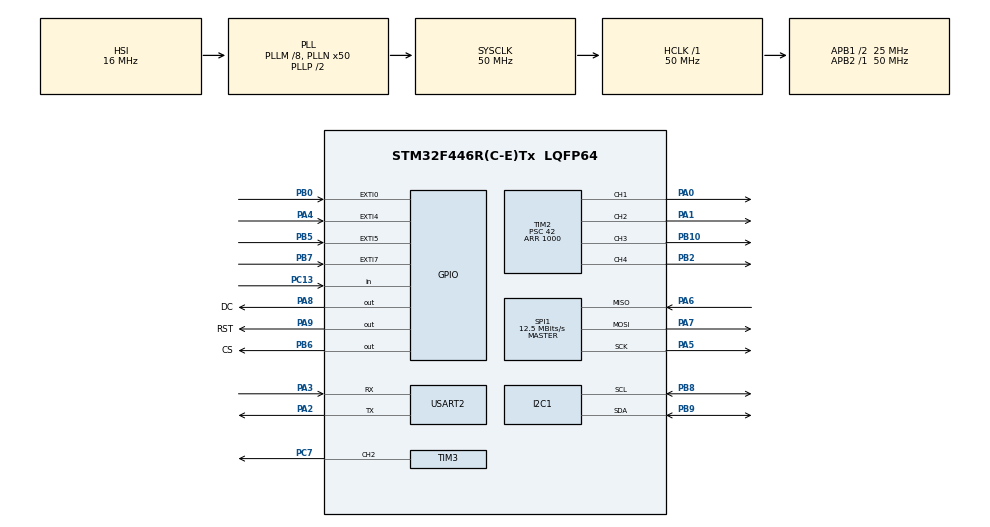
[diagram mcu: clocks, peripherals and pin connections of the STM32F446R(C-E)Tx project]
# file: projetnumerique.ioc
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Dma.Request0=USART2_RX
Dma.USART2_RX.0.Direction=DMA_PERIPH_TO_MEMORY
Dma.USART2_RX.0.FIFOMode=DMA_FIFOMODE_DISABLE
Dma.USART2_RX.0.Instance=DMA1_Stream5
Dma.USART2_RX.0.MemDataAlignment=DMA_MDATAALIGN_BYTE
Dma.USART2_RX.0.MemInc=DMA_MINC_ENABLE
Dma.USART2_RX.0.Mode=DMA_CIRCULAR
Dma.USART2_RX.0.PeriphDataAlignment=DMA_PDATAALIGN_BYTE
Dma.USART2_RX.0.PeriphInc=DMA_PINC_DISABLE
Dma.USART2_RX.0.Priority=DMA_PRIORITY_LOW
Mcu.Family=STM32F4
Mcu.Name=STM32F446R(C-E)Tx
Mcu.Package=LQFP64
NVIC.DMA1_Stream5_IRQn=true\:0\:0\:false\:false\:true\:false\:true\:true
NVIC.EXTI0_IRQn=true\:0\:0\:false\:false\:true\:true\:true\:true
NVIC.EXTI4_IRQn=true\:0\:0\:false\:false\:true\:true\:true\:true
NVIC.EXTI9_5_IRQn=true\:0\:0\:false\:false\:true\:true\:true\:true
NVIC.PriorityGroup=NVIC_PRIORITYGROUP_4
NVIC.TIM6_DAC_IRQn=true\:0\:0\:false\:false\:true\:true\:true\:true
NVIC.USART2_IRQn=true\:0\:0\:false\:false\:true\:true\:true\:true
PA0-WKUP.Signal=S_TIM2_CH1_ETR
PA1.Signal=S_TIM2_CH2
PA13.Mode=Serial_Wire
PA13.Signal=SYS_JTMS-SWDIO
PA14.Mode=Serial_Wire
PA14.Signal=SYS_JTCK-SWCLK
PA2.Mode=Asynchronous
PA2.Signal=USART2_TX
PA3.Mode=Asynchronous
PA3.Signal=USART2_RX
PA4.GPIO_ModeDefaultEXTI=GPIO_MODE_IT_RISING
PA4.Signal=GPXTI4
PA5.Mode=Full_Duplex_Master
PA5.Signal=SPI1_SCK
PA6.Mode=Full_Duplex_Master
PA6.Signal=SPI1_MISO
PA7.Mode=Full_Duplex_Master
PA7.Signal=SPI1_MOSI
PA8.GPIO_Label=DC
PA8.PinState=GPIO_PIN_SET
PA8.Signal=GPIO_Output
PA9.GPIO_Label=RST
PA9.PinState=GPIO_PIN_SET
PA9.Signal=GPIO_Output
PB0.GPIO_ModeDefaultEXTI=GPIO_MODE_IT_RISING
PB0.Signal=GPXTI0
PB10.Signal=S_TIM2_CH3
PB2.Signal=S_TIM2_CH4
PB5.Signal=GPXTI5
PB6.GPIO_Label=CS
PB6.PinState=GPIO_PIN_SET
PB6.Signal=GPIO_Output
PB7.Signal=GPXTI7
PB8.Mode=I2C
PB8.Signal=I2C1_SCL
PB9.Mode=I2C
PB9.Signal=I2C1_SDA
PC13.Signal=GPIO_Input
PC7.Signal=S_TIM3_CH2
ProjectManager.HeapSize=0x200
ProjectManager.StackSize=0x400
ProjectManager.TargetToolchain=STM32CubeIDE
RCC.AHBFreq_Value=50000000
RCC.APB1CLKDivider=RCC_HCLK_DIV2
RCC.APB1Freq_Value=25000000
RCC.APB1TimFreq_Value=50000000
RCC.APB2Freq_Value=50000000
RCC.APB2TimFreq_Value=50000000
RCC.CortexFreq_Value=50000000
RCC.HCLKFreq_Value=50000000
RCC.PLLM=8
RCC.PLLMUL=RCC_PLL_MUL4
RCC.PLLN=50
RCC.SYSCLKFreq_VALUE=50000000
RCC.SYSCLKSource=RCC_SYSCLKSOURCE_PLLCLK
RCC.USBFreq_Value=50000000
RCC.VCOOutputFreq_Value=100000000
RTC.Date=10
RTC.Format=RTC_FORMAT_BIN
RTC.Hours=16
RTC.Minutes=15
RTC.Month=RTC_MONTH_DECEMBER
RTC.Seconds=30
RTC.WeekDay=RTC_WEEKDAY_TUESDAY
RTC.Year=24
SH.S_TIM2_CH1_ETR.0=TIM2_CH1,PWM Generation1 CH1
SH.S_TIM2_CH2.0=TIM2_CH2,PWM Generation2 CH2
SH.S_TIM2_CH3.0=TIM2_CH3,PWM Generation3 CH3
SH.S_TIM2_CH4.0=TIM2_CH4,PWM Generation4 CH4
SH.S_TIM3_CH2.0=TIM3_CH2,PWM Generation2 CH2
SPI1.BaudRatePrescaler=SPI_BAUDRATEPRESCALER_4
SPI1.CalculateBaudRate=12.5 MBits/s
SPI1.Direction=SPI_DIRECTION_2LINES
SPI1.Mode=SPI_MODE_MASTER
SPI1.VirtualType=VM_MASTER
TIM2.Channel-PWM\ Generation1\ CH1=TIM_CHANNEL_1
TIM2.Channel-PWM\ Generation2\ CH2=TIM_CHANNEL_2
TIM2.Channel-PWM\ Generation3\ CH3=TIM_CHANNEL_3
TIM2.Channel-PWM\ Generation4\ CH4=TIM_CHANNEL_4
TIM2.Period=1000
TIM2.Prescaler=42
TIM2.Pulse-PWM\ Generation1\ CH1=500
TIM2.Pulse-PWM\ Generation2\ CH2=500
TIM2.Pulse-PWM\ Generation4\ CH4=500
TIM3.AutoReloadPreload=TIM_AUTORELOAD_PRELOAD_ENABLE
TIM3.Channel-PWM\ Generation2\ CH2=TIM_CHANNEL_2
TIM3.Period=1000-1
TIM3.Prescaler=300-1
TIM6.Period=100
TIM6.Prescaler=8400
USART2.VirtualMode=VM_ASYNC
VP_RTC_VS_RTC_Activate.Mode=RTC_Enabled
VP_RTC_VS_RTC_Calendar.Mode=RTC_Calendar
VP_TIM2_VS_ClockSourceINT.Mode=Internal
VP_TIM6_VS_ClockSourceINT.Mode=Enable_Timer
board=custom

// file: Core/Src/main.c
/* USER CODE BEGIN Header */
/**
  ******************************************************************************
  * @file           : main.c
  * @brief          : Main program body
  ******************************************************************************
  * @attention
  *
  * Copyright (c) 2024 STMicroelectronics.
  * All rights reserved.
  *
  * This software is licensed under terms that can be found in the LICENSE file
  * in the root directory of this software component.
  * If no LICENSE file comes with this software, it is provided AS-IS.
  *
  ******************************************************************************
  */
/* USER CODE END Header */
#include "main.h"
#include "dma.h"
#include "i2c.h"
#include "rtc.h"
#include "spi.h"
#include "tim.h"
#include "usart.h"
#include "gpio.h"
#include "image.h"
#include "LCD_Test.h"
#include "LCD_2inch4.h"
#include "DEV_Config.h"

void SystemClock_Config(void);
/* USER CODE BEGIN PFP */
/* Fonction pour ajuster la vitesse d'un moteur via PWM */
void Moteur1_SetSpeed(uint16_t speed, uint8_t direction);
void Moteur2_SetSpeed(uint16_t speed, uint8_t direction);

/* Fonction pour configurer les directions des moteurs */

/* Fonction pour les mouvements spécifiques */
void VirageGauche(uint16_t speed);
void VirageDroite(uint16_t speed);
void ArreterMoteurs(void);
void MarcheAvant(uint16_t speed);
uint8_t ReadDipSwitch(void);
void MarcheArriere(uint16_t speed);
void CalculerVitesse(void);
void LigneDroite(void);
void Cercle();
void Carre();
void EtapeUn(void);
void EtapeDeux(void);
void TournerAngle90();
void TournerAngle180();
void CommandeManuelle();
void ConfigI2C();
void TwoMoteurSpeed(uint16_t motor1, uint16_t motor2);
void ReadNUNCHUCK();
void Display_RTC_TimeDate(void);
void AfficherHeureDate(void);
void AfficherModeEtVitesse(void);
uint16_t CalculerVitesseMoteur(int impulsions);
void displayName(void);
void intLCD(void);
void updateNunchuk(void);
// Définitions pour l'adresse et le nombre de données
#define NUNCHUK_ADDRESS (0x52 << 1)
#define DATA_LENGTH 6
#define FORWARD 1
#define BACKWARD 2
#define STOP 3

/* USER CODE END 0 */
volatile int32_t impulsions_moteur1 = 0;
volatile int32_t impulsions_moteur2 = 0;
volatile int32_t impulsions_moteurv1 = 0;
volatile int32_t impulsions_moteurv2 = 0;

uint8_t init[2] = {0xF0, 0x55};  // Commande d'initialisation du Nunchuk
uint8_t data[6] = {0};
uint8_t joystickX = 0;
uint8_t joystickY =0;
uint8_t buttonC = 0;
uint8_t buttonZ = 0;

volatile uint8_t mode = 0;
char mode_vehicule[10] = "MANUEL";
volatile uint8_t isPaused = 0;
/**
  * @brief  The application entry point.
  * @retval int
  */
int moyenne = 0;
volatile uint8_t state0 = 0; // 0 = Idle, 1 = Test en cours, etc.
volatile uint8_t state1 = 0;
volatile uint8_t state2 = 0;
int test_config =0;
uint8_t* donnees;
uint8_t command = 0x00;
/* USER CODE END PFP */
uint8_t vitesse_gauche=0;
uint8_t vitesse_droite=0;
 uint8_t affichedata =0;
 uint8_t mode_commande = 0;
 uint8_t test =0;
 volatile uint8_t previous_mode = 0xFF;
 uint16_t MAX_PWM = 999;
       RTC_TimeTypeDef sTime;
       RTC_DateTypeDef sDate;
int main(void)
{

  /* MCU Configuration--------------------------------------------------------*/

  /* Reset of all peripherals, Initializes the Flash interface and the Systick. */
  HAL_Init();

  /* Configure the system clock */
  SystemClock_Config();

  /* Initialize all configured peripherals */
  MX_GPIO_Init();
  MX_DMA_Init();
  MX_SPI1_Init();
  MX_TIM3_Init();
  MX_TIM6_Init();
  MX_USART2_UART_Init();
  MX_I2C1_Init();
  MX_TIM2_Init();
  MX_RTC_Init();

  /* USER CODE END 2 */
   HAL_TIM_PWM_Start(&htim2, TIM_CHANNEL_1);
   HAL_TIM_PWM_Start(&htim2, TIM_CHANNEL_2);
   HAL_TIM_PWM_Start(&htim2, TIM_CHANNEL_3);
   HAL_TIM_PWM_Start(&htim2, TIM_CHANNEL_4);
   HAL_TIM_Base_Start_IT(&htim6);

   ArreterMoteurs();
   intLCD();
   ConfigI2C();
   /* Infinite loop */
   /* USER CODE BEGIN WHILE */
 	/*	*/

   displayName();
   while (1) {

       // Lire le mode uniquement si nécessaire
       uint8_t current_mode = ReadDipSwitch();
       if (current_mode != previous_mode) {
           mode = current_mode;
           previous_mode = current_mode;
       }

       // Exécuter la logique en fonction du mode
       if (mode_commande == 0) {
           CommandeManuelle(); // Mode manuel
       } else {
    	   updateNunchuk();
    	   if (isPaused) {
    	              ArreterMoteurs();
    	              HAL_Delay(100);
    	              continue;
    	          }else{
    	        	  EtapeDeux(); // Mode automatique
    	          }

       }

       // Affichage des données
       AfficherHeureDate();
       AfficherModeEtVitesse();
   }

  /* USER CODE END 3 */
}

void intLCD(void){
	DEV_Module_Init();

	   	LCD_2IN4_Init();
	   	LCD_2IN4_Clear(WHITE);

	     Paint_NewImage(LCD_2IN4_WIDTH, LCD_2IN4_HEIGHT, ROTATE_90, WHITE);

	   	Paint_SetClearFuntion(LCD_2IN4_Clear);
	   	Paint_SetDisplayFuntion(LCD_2IN4_DrawPaint);
	     Paint_Clear(WHITE);
	     DEV_Delay_ms(1000);
}
void AfficherHeureDate(void) {
    static char previousBuffer[30] = {0}; // Pour stocker la dernière chaîne affichée

    // Lire l'heure et la date
    HAL_RTC_GetTime(&hrtc, &sTime, RTC_FORMAT_BIN);
    HAL_RTC_GetDate(&hrtc, &sDate, RTC_FORMAT_BIN);

    // Formater l'heure et la date
    char buffer[30];
    snprintf(buffer, sizeof(buffer), "%02d:%02d %02d/%02d/20%02d",
             sTime.Hours, sTime.Minutes,
             sDate.Date, sDate.Month, sDate.Year);

    // Afficher uniquement si le contenu a changé
    if (strcmp(buffer, previousBuffer) != 0) {
        Paint_DrawString_EN(10, 10, buffer, &Font20, BLACK, WHITE);
        strncpy(previousBuffer, buffer, sizeof(previousBuffer));
    }
}

void displayName(void){
		Paint_SetRotate(ROTATE_90);
	    Paint_SetMirroring(MIRROR_HORIZONTAL);
	    // Définir les dimensions de l'écran pour le centrage

	    // Calculer les positions
	    int posX = 10;
	    int posY = 50;

	    // Afficher le texte "UQTR" centré avec un fond vert
	    Paint_DrawString_EN(posX, posY, "Mode :", &Font24, BLACK, RED);
	    Paint_DrawString_EN(posX, posY+20, "V.D :", &Font24, BLACK, BLUE);
	    Paint_DrawString_EN(posX, posY+40, "V.G :", &Font24, BLACK, BLUE);
	    Paint_DrawString_EN(posX, posY+60, "Ratio V:", &Font24, BLACK, BLUE);
}
void AfficherModeEtVitesse(void) {
	Paint_SetRotate(ROTATE_90);
	Paint_SetMirroring(MIRROR_HORIZONTAL);
    Paint_DrawString_EN(115, 50, mode_vehicule, &Font16, BLACK, WHITE);
        char buffer0[20];
        snprintf(buffer0, sizeof(buffer0), "%d RPM", vitesse_gauche);
        Paint_DrawString_EN(100, 75, buffer0, &Font16, BLACK, WHITE);

        char buffer1[20];
        snprintf(buffer1, sizeof(buffer1), "%d RPM", vitesse_droite);
        Paint_DrawString_EN(110, 90, buffer1, &Font16, BLACK, WHITE);

}

uint16_t CalculerVitesseMoteur(int impulsions) {
    // Exemple : Calculer la vitesse à partir des impulsions
    // Facteur à ajuster selon le capteur
    const float facteur_conversion = 60.0 / 20; // 20 impulsions par tour
    uint16_t vitesse = impulsions * facteur_conversion;
    impulsions = 0; // Réinitialiser le compteur
    return vitesse;
}

void updateNunchuk(){
    // Extraire les valeurs du joystick et des boutons
    joystickX = data[0];
    joystickY = data[1];
    buttonC = !(data[5] & 0x02);
    buttonZ = !(data[5] & 0x01);
    if (buttonC) {
         mode_commande = !mode_commande; // Bascule entre manuel (0) et automatique (1)
         //HAL_Delay(200);
    }
}
void CommandeManuelle() {
    // Lire les données du Nunchuck
    ReadNUNCHUCK();
    updateNunchuk();
    static uint8_t commande_active = 0;

    strncpy(mode_vehicule, mode_commande ? "AUTO" : "MANUEL", sizeof(mode_vehicule)); // Met à jour l'affichage
    // Changer le mode de vitesse avec le bouton Z
        static uint8_t mode_vitesse = 0;
        if (buttonZ) {
            mode_vitesse = (mode_vitesse + 1) % 3;
            HAL_Delay(200);
        }
        // Déterminer le rapport cyclique maximal pour le mode courant

           switch (mode_vitesse) {
               case 0: MAX_PWM = 333; break; // 33% de la vitesse maximale
               case 1: MAX_PWM = 666; break; // 66% de la vitesse maximale
               case 2: MAX_PWM = 999; break; // 100% de la vitesse maximale
           }
        // Déterminer le rapport cyclique maximal pour le mode courant
        test =1;
        // Commandes en fonction des joysticks
        if (joystickY > 140) { // Avancer
            if (joystickX < 115) { // Avancer à gauche
                Moteur1_SetSpeed(MAX_PWM, FORWARD);
                Moteur2_SetSpeed(MAX_PWM / 2, FORWARD);
            } else if (joystickX > 140) { // Avancer à droite
                Moteur1_SetSpeed(MAX_PWM / 2, FORWARD);
                Moteur2_SetSpeed(MAX_PWM, FORWARD);
            } else {
                MarcheAvant(MAX_PWM);
            }
        } else if (joystickY < 115) { // Reculer
            if (joystickX < 115) { // Reculer à gauche
                Moteur1_SetSpeed(MAX_PWM, BACKWARD);
                Moteur2_SetSpeed(MAX_PWM / 2, BACKWARD);
            } else if (joystickX > 140) { // Reculer à droite
                Moteur1_SetSpeed(MAX_PWM / 2, BACKWARD);
                Moteur2_SetSpeed(MAX_PWM, BACKWARD);
            } else {
                MarcheArriere(MAX_PWM);
            }
        }else if (joystickX < 115) { // Virage sur place à gauche
        	Moteur1_SetSpeed(MAX_PWM , FORWARD); // Moteur gauche avance
        	Moteur2_SetSpeed(MAX_PWM , BACKWARD); // Moteur droit recule

        } else if (joystickX > 140) { // Virage sur place à droite
            Moteur1_SetSpeed(MAX_PWM , BACKWARD); // Moteur gauche recule
            Moteur2_SetSpeed(MAX_PWM , FORWARD); // Moteur droit avance
        } else { // Arrêt (joystick au centre)
            ArreterMoteurs();
        }
}

void ConfigI2C(){
	    // Initialisation du Nunchuk
	    if (HAL_I2C_Master_Transmit(&hi2c1, NUNCHUK_ADDRESS, init, 2, HAL_MAX_DELAY) != HAL_OK) {
	        Error_Handler();
	    }else{
	    	test_config =1;
	    }
	    HAL_Delay(100);

	    // Envoi de la commande 0x00 pour démarrer la communication
	    uint8_t command = 0x00;
	    if (HAL_I2C_Master_Transmit(&hi2c1, NUNCHUK_ADDRESS, &command, 1, HAL_MAX_DELAY) != HAL_OK) {

	        Error_Handler();
	    }
	    HAL_Delay(10);
}

/* Fonction ReadNUNCHUCK corrigée */
void ReadNUNCHUCK() {
    HAL_StatusTypeDef status;

    // Transmission de la commande
    status = HAL_I2C_Master_Transmit(&hi2c1, NUNCHUK_ADDRESS, 0x00, 1, HAL_MAX_DELAY);
    if (status != HAL_OK) {
        Error_Handler(); // Gestion des erreurs
    }

    // Attente pour la réponse du périphérique
    HAL_Delay(10);

    // Réception des données dans le tableau global `data`
    status = HAL_I2C_Master_Receive(&hi2c1, NUNCHUK_ADDRESS, data, DATA_LENGTH, HAL_MAX_DELAY);
    if (status != HAL_OK) {
        Error_Handler(); // Gestion des erreurs
    }
}

void TournerAngle90() {
    int impulsions_cible = 105;

    // Réinitialisation des impulsions
    impulsions_moteur1 = 0;
    impulsions_moteur2 = 0;

    // Rotation : une roue avance, l'autre recule
    Moteur1_SetSpeed(500,1);
    Moteur2_SetSpeed(520, 2);

    // Boucle jusqu'à atteindre l'angle souhaité
    while (impulsions_moteur1 < impulsions_cible && impulsions_moteur2 < impulsions_cible) {
    }

    // Arrêt des moteurs
    ArreterMoteurs();
}

void TournerAngle180() {
    int impulsions_cible = 205;

    // Réinitialisation des impulsions
    impulsions_moteur1 = 0;
    impulsions_moteur2 = 0;

    // Rotation : une roue avance, l'autre recule
    Moteur1_SetSpeed(500,FORWARD);
    Moteur2_SetSpeed(520,BACKWARD);

    // Boucle jusqu'à atteindre l'angle souhaité
    while (impulsions_moteur1 < impulsions_cible && impulsions_moteur2 < impulsions_cible) {
    }

    // Arrêt des moteurs
    ArreterMoteurs();
}

void LigneDroite() {
	int target_impulsions = 600;//456;
	    impulsions_moteur1 = 0;
	    impulsions_moteur2 = 0;

	    // Démarre les moteurs
	    MarcheAvant(500);

	    while (impulsions_moteur1 < target_impulsions && impulsions_moteur2 < target_impulsions) {
	    }

	    //
	    ArreterMoteurs();
}

void LigneDroiteRetour() {
	LigneDroite();
	TournerAngle180();
	LigneDroite();
}
void Cercle() {
	uint16_t MAX_PWM =999;
    impulsions_moteur1 = 0;
    impulsions_moteur2 = 0;

    Moteur1_SetSpeed(MAX_PWM, FORWARD);
    Moteur2_SetSpeed(MAX_PWM / 2, FORWARD);

    while (impulsions_moteur1 < 2000) {}
    ArreterMoteurs();
}

void Carre() {
    for (int i = 0; i < 4; i++) {
        LigneDroite();
        TournerAngle90();
    }
    ArreterMoteurs();
}

uint8_t ReadDipSwitch(void) {
    uint8_t mode = 0;

    if (HAL_GPIO_ReadPin(GPIOB, GPIO_PIN_7) == GPIO_PIN_RESET) { // IN1
        mode |= (1 << 0); // Bit 0
        state0 = 1;
    } else {
        state0 = 0;
    }

    if (HAL_GPIO_ReadPin(GPIOB, GPIO_PIN_4) == GPIO_PIN_RESET) { // IN2
        mode |= (1 << 1); // Bit 1
        state1 = 1;
    } else {
        state1 = 0;
    }

    if (HAL_GPIO_ReadPin(GPIOB, GPIO_PIN_5) == GPIO_PIN_RESET) { // IN3
        mode |= (1 << 2); // Bit 2
        state2 = 1;
    } else {
        state2 = 0;
    }

    return mode;
}

void Moteur2_SetSpeed(uint16_t speed, uint8_t direction) {

        if(direction == FORWARD){ // avance
        	__HAL_TIM_SET_COMPARE(&htim2, TIM_CHANNEL_3, 0);      // Aucun signal
        	__HAL_TIM_SET_COMPARE(&htim2, TIM_CHANNEL_4, speed);
        }else if(direction == BACKWARD){ // recule
        	__HAL_TIM_SET_COMPARE(&htim2, TIM_CHANNEL_3,speed);
            __HAL_TIM_SET_COMPARE(&htim2, TIM_CHANNEL_4, 0);
        } else if(direction >=3){
        	__HAL_TIM_SET_COMPARE(&htim2, TIM_CHANNEL_3, 0);  // PWM pour avancer
        	__HAL_TIM_SET_COMPARE(&htim2, TIM_CHANNEL_4, 0);
        }
}

void Moteur1_SetSpeed(uint16_t speed, uint8_t direction) {
		if(direction == 1){
			__HAL_TIM_SET_COMPARE(&htim2, TIM_CHANNEL_1, speed);  // PWM pour avancer
			__HAL_TIM_SET_COMPARE(&htim2, TIM_CHANNEL_2, 0);
		}else if(direction == 2){
			__HAL_TIM_SET_COMPARE(&htim2, TIM_CHANNEL_1, 0);  // PWM pour avancer
			__HAL_TIM_SET_COMPARE(&htim2, TIM_CHANNEL_2, speed);
		} else if(direction >=3){
			__HAL_TIM_SET_COMPARE(&htim2, TIM_CHANNEL_1, 0);  // PWM pour avancer
			__HAL_TIM_SET_COMPARE(&htim2, TIM_CHANNEL_2, 0);
		}

}

void MarcheArriere(uint16_t speed) {
    Moteur1_SetSpeed(speed, 2); // Moteur 1 recule
    Moteur2_SetSpeed(speed, 2); // Moteur 2 recule
}

void VirageDroite(uint16_t speed) {
    Moteur1_SetSpeed(speed, 1); // Moteur 1 avance plus lentement
    Moteur2_SetSpeed(speed/ 2, 1);   // Moteur 2 avance
}

void VirageGauche(uint16_t speed) {
    Moteur1_SetSpeed(speed / 2, 1); // Moteur 1 avance plus lentement
    Moteur2_SetSpeed(speed, 1);   // Moteur 2 avance
}

void ArreterMoteurs(void) {
    Moteur1_SetSpeed(0,3);
    Moteur2_SetSpeed(0,3);
}

void MarcheAvant(uint16_t speed) {
    Moteur1_SetSpeed(speed+60, FORWARD);  // Moteur 1 avance
    Moteur2_SetSpeed(speed, FORWARD);  // Moteur 2 avance
}

void EtapeUn(void) {
    // Étape 1 : Marche avant
    MarcheAvant(1000);  // PWM à 100% pour tester
    HAL_Delay(3000);
    // Étape 5 : Virage gauche
    VirageGauche(500);  // PWM à 50%
    HAL_Delay(1500);

    // Étape 6 : Virage droite
    VirageDroite(500);  // PWM à 50%
    HAL_Delay(1500);

    // Étape 7 : Marche arrière
    MarcheArriere(1000);  // PWM à 100%
    HAL_Delay(3000);

}

void EtapeDeux(void) {
    switch (mode) {
        case 1: // Ligne droite et retour
            if (state0 == 1) {
                LigneDroiteRetour();
                ArreterMoteurs();
                state0 = 0;
                mode = 0;
            }
            break;
        case 2: // Cercle
            if (state1 == 1) {
                Cercle();
                ArreterMoteurs();
                state1 = 0;
                mode = 0;
            }
            break;
        case 4: // Carré
            if (state2 == 1) {
                Carre();
                ArreterMoteurs();
                state2 = 0;
                mode = 0;
            }
            break;
        default:
            ArreterMoteurs();
            break;
    }
}

/* Callback pour gérer la pause avec le bouton bleu */
void HAL_GPIO_EXTI_Callback(uint16_t GPIO_Pin)
{
    if (GPIO_Pin == GPIO_PIN_13){
        isPaused = !isPaused; // Activer/désactiver la pause
    }
    if (GPIO_Pin == GPIO_PIN_4) { // Encoder Moteur 2 - Signal A
                impulsions_moteur2++;
                impulsions_moteurv2++;
            }
    if (GPIO_Pin == GPIO_PIN_0) { // Encoder Moteur 1 - Signal A
            impulsions_moteur1++;
            impulsions_moteurv1++;
        }

}

void HAL_TIM_PeriodElapsedCallback(TIM_HandleTypeDef *htim) {
    if (htim->Instance == TIM6) { // Vérifier si l'interruption provient de TIM6
        // Calculer les vitesses
        vitesse_gauche = CalculerVitesseMoteur(impulsions_moteurv1);
        vitesse_droite = CalculerVitesseMoteur(impulsions_moteurv2);

        // Réinitialiser les compteurs d'impulsions
        impulsions_moteurv1 = 0;
        impulsions_moteurv2 = 0;
    }
}

void SystemClock_Config(void)
{
  RCC_OscInitTypeDef RCC_OscInitStruct = {0};
  RCC_ClkInitTypeDef RCC_ClkInitStruct = {0};

  /** Configure the main internal regulator output voltage
  */
  __HAL_RCC_PWR_CLK_ENABLE();
  __HAL_PWR_VOLTAGESCALING_CONFIG(PWR_REGULATOR_VOLTAGE_SCALE3);

  /** Initializes the RCC Oscillators according to the specified parameters
  * in the RCC_OscInitTypeDef structure.
  */
  RCC_OscInitStruct.OscillatorType = RCC_OSCILLATORTYPE_HSI|RCC_OSCILLATORTYPE_LSI;
  RCC_OscInitStruct.LSEState = RCC_LSE_OFF;
  RCC_OscInitStruct.HSIState = RCC_HSI_ON;
  RCC_OscInitStruct.HSICalibrationValue = RCC_HSICALIBRATION_DEFAULT;
  RCC_OscInitStruct.LSIState = RCC_LSI_ON;
  RCC_OscInitStruct.PLL.PLLState = RCC_PLL_ON;
  RCC_OscInitStruct.PLL.PLLSource = RCC_PLLSOURCE_HSI;
  RCC_OscInitStruct.PLL.PLLM = 8;
  RCC_OscInitStruct.PLL.PLLN = 50;
  RCC_OscInitStruct.PLL.PLLP = RCC_PLLP_DIV2;
  RCC_OscInitStruct.PLL.PLLQ = 2;
  RCC_OscInitStruct.PLL.PLLR = 2;
  if (HAL_RCC_OscConfig(&RCC_OscInitStruct) != HAL_OK)
  {
    Error_Handler();
  }

  /** Initializes the CPU, AHB and APB buses clocks
  */
  RCC_ClkInitStruct.ClockType = RCC_CLOCKTYPE_HCLK|RCC_CLOCKTYPE_SYSCLK
                              |RCC_CLOCKTYPE_PCLK1|RCC_CLOCKTYPE_PCLK2;
  RCC_ClkInitStruct.SYSCLKSource = RCC_SYSCLKSOURCE_PLLCLK;
  RCC_ClkInitStruct.AHBCLKDivider = RCC_SYSCLK_DIV1;
  RCC_ClkInitStruct.APB1CLKDivider = RCC_HCLK_DIV2;
  RCC_ClkInitStruct.APB2CLKDivider = RCC_HCLK_DIV1;

  if (HAL_RCC_ClockConfig(&RCC_ClkInitStruct, FLASH_LATENCY_1) != HAL_OK)
  {
    Error_Handler();
  }
}

void Error_Handler(void)
{
  __disable_irq();
  while (1)
  {
  }
}
